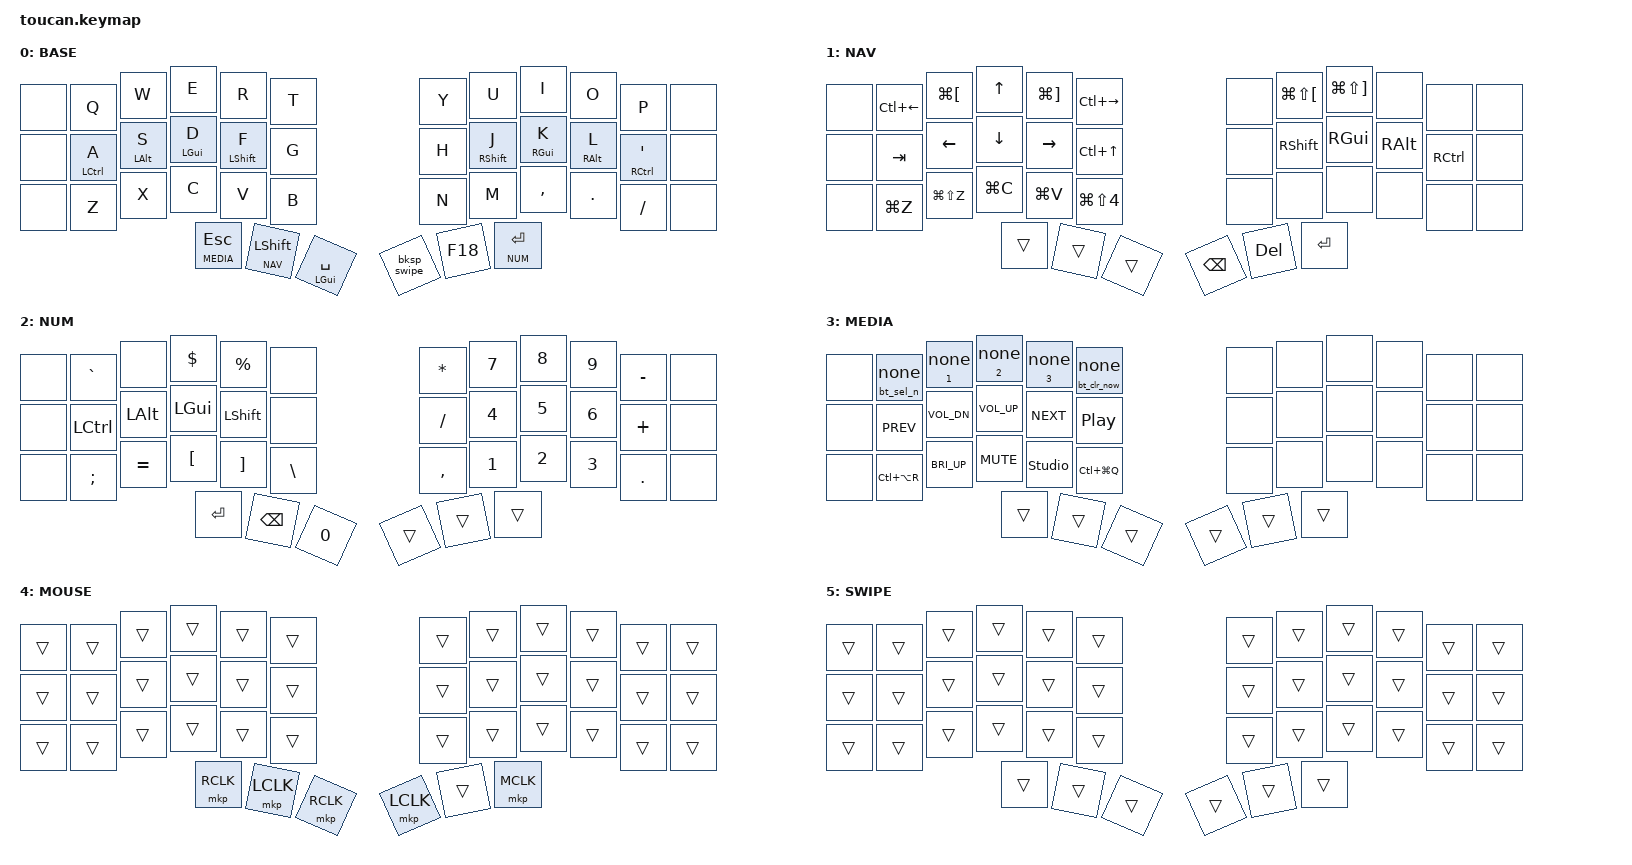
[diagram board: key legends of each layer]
#include <behaviors.dtsi>
#include <dt-bindings/zmk/keys.h>
#include <dt-bindings/zmk/bt.h>
#include <dt-bindings/zmk/outputs.h>
#include <dt-bindings/zmk/pointing.h>
#include <dt-bindings/input/input-event-codes.h>

#define BASE  0
#define NAV   1
#define NUM   2
#define MEDIA 3
#define MOUSE 4   // boards/shields/toucan/toucan.dtsi turns it on with &mo 4 while a finger is on the trackpad
#define SWIPE 5   // on while Bksp is held: no keys of its own, only two-finger swipes as gestures (toucan.dtsi)

// key positions: left hand, right hand, thumbs
#define KEYS_L 0 1 2 3 4 5 12 13 14 15 16 17 24 25 26 27 28 29
#define KEYS_R 6 7 8 9 10 11 18 19 20 21 22 23 30 31 32 33 34 35
#define THUMBS 36 37 38 39 40 41

&lt {
    tapping-term-ms = <200>;
    quick-tap-ms = <175>;
};

/ {
    behaviors {
        hml: home_row_mod_left {
            compatible = "zmk,behavior-hold-tap";
            display-name = "Home Row Mod Left";
            #binding-cells = <2>;
            flavor = "balanced";
            tapping-term-ms = <280>;
            quick-tap-ms = <175>;
            require-prior-idle-ms = <150>;
            bindings = <&kp>, <&kp>;
            hold-trigger-key-positions = <KEYS_R THUMBS>;
            hold-trigger-on-release;
        };
        hmr: home_row_mod_right {
            compatible = "zmk,behavior-hold-tap";
            display-name = "Home Row Mod Right";
            #binding-cells = <2>;
            flavor = "balanced";
            tapping-term-ms = <280>;
            quick-tap-ms = <175>;
            require-prior-idle-ms = <150>;
            bindings = <&kp>, <&kp>;
            hold-trigger-key-positions = <KEYS_L THUMBS>;
            hold-trigger-on-release;
        };
        // middle left thumb: hold = NAV, tap = one-shot Shift (the next letter is a capital); a letter pressed with it
        // and both released inside the 200 ms is a capital too
        nav_shift: nav_or_sticky_shift {
            compatible = "zmk,behavior-hold-tap";
            display-name = "NAV / Shift";
            #binding-cells = <2>;
            flavor = "tap-preferred";
            tapping-term-ms = <200>;
            bindings = <&hud_nav>, <&sk>;
        };
        // Esc and Enter: &lt exactly (tap-preferred, 200 ms, quick-tap 175 from &lt above), but the hold also holds the
        // layer's HUD key (hud_media, hud_num) so the Mac's layer HUD (~/key-layers) shows the layer
        lt_media: layer_tap_media {
            compatible = "zmk,behavior-hold-tap";
            display-name = "Layer-Tap MEDIA";
            #binding-cells = <2>;
            flavor = "tap-preferred";
            tapping-term-ms = <200>;
            quick-tap-ms = <175>;
            bindings = <&hud_media>, <&kp>;
        };
        lt_num: layer_tap_num {
            compatible = "zmk,behavior-hold-tap";
            display-name = "Layer-Tap NUM";
            #binding-cells = <2>;
            flavor = "tap-preferred";
            tapping-term-ms = <200>;
            quick-tap-ms = <175>;
            bindings = <&hud_num>, <&kp>;
        };
        // inner left thumb: tap = Space, hold = Cmd after 200 ms (tap-preferred, as Space/NAV was, so fast typing never
        // fires Cmd); tap then hold repeats Space
        cmd_space: cmd_or_space {
            compatible = "zmk,behavior-hold-tap";
            display-name = "Cmd / Space";
            #binding-cells = <2>;
            flavor = "tap-preferred";
            tapping-term-ms = <200>;
            quick-tap-ms = <175>;
            bindings = <&kp>, <&kp>;
        };
        // MEDIA's Bluetooth keys fire only when held a full second, so Esc held a moment too long and a word with a t
        // in it never wipes the pairing (Q W E R pick a device, T clears it); a quick tap does nothing
        bt_sel_hold: bt_select_on_hold {
            compatible = "zmk,behavior-hold-tap";
            display-name = "BT Select (hold 1 s)";
            #binding-cells = <2>;
            flavor = "tap-preferred";
            tapping-term-ms = <1000>;
            bindings = <&bt_sel_n>, <&none>;
        };
        bt_clr_hold: bt_clear_on_hold {
            compatible = "zmk,behavior-hold-tap";
            display-name = "BT Clear (hold 1 s)";
            #binding-cells = <2>;
            flavor = "tap-preferred";
            tapping-term-ms = <1000>;
            bindings = <&bt_clr_now>, <&none>;
        };
    };

    macros {
        // the device number from bt_sel_hold into &bt BT_SEL
        bt_sel_n: bt_sel_n {
            compatible = "zmk,behavior-macro-one-param";
            #binding-cells = <1>;
            bindings = <&macro_param_1to2>, <&bt BT_SEL MACRO_PLACEHOLDER>;
        };
        // a layer held from a thumb also holds a spare key for as long as the layer is on (NAV F13, NUM F16, MEDIA F17):
        // the Mac's layer HUD (~/key-layers/layer-hud.lua in Hammerspoon) hears it and shows that layer's keys; the
        // HUD swallows the key, so no app sees it
        hud_nav: hud_nav {
            compatible = "zmk,behavior-macro";
            #binding-cells = <0>;
            wait-ms = <0>;
            tap-ms = <0>;
            bindings
                = <&macro_press &mo NAV &kp F13>
                , <&macro_pause_for_release>
                , <&macro_release &kp F13 &mo NAV>
                ;
        };
        hud_num: hud_num {
            compatible = "zmk,behavior-macro";
            #binding-cells = <0>;
            wait-ms = <0>;
            tap-ms = <0>;
            bindings
                = <&macro_press &mo NUM &kp F16>
                , <&macro_pause_for_release>
                , <&macro_release &kp F16 &mo NUM>
                ;
        };
        hud_media: hud_media {
            compatible = "zmk,behavior-macro";
            #binding-cells = <0>;
            wait-ms = <0>;
            tap-ms = <0>;
            bindings
                = <&macro_press &mo MEDIA &kp F17>
                , <&macro_pause_for_release>
                , <&macro_release &kp F17 &mo MEDIA>
                ;
        };
        bt_clr_now: bt_clr_now {
            compatible = "zmk,behavior-macro";
            #binding-cells = <0>;
            bindings = <&bt BT_CLR>;
        };
        // inner right thumb: Bksp, held down it repeats as before, and while held two-finger swipes are the Mac
        // gestures (SWIPE on with it)
        bksp_swipe: bksp_swipe {
            compatible = "zmk,behavior-macro";
            display-name = "Bksp / Swipe";
            #binding-cells = <0>;
            wait-ms = <0>;
            tap-ms = <0>;
            bindings
                = <&macro_press &mo SWIPE &kp BSPC>
                , <&macro_pause_for_release>
                , <&macro_release &kp BSPC &mo SWIPE>
                ;
        };
        // a finger landing on the trackpad while Bksp is held lets Bksp go, so the swipe does not delete text
        bksp_up: bksp_up {
            compatible = "zmk,behavior-macro";
            #binding-cells = <0>;
            wait-ms = <0>;
            tap-ms = <0>;
            bindings = <&macro_release &kp BSPC>;
        };
    };

    bksp_off_processor: bksp_off_processor {
        compatible = "zmk,input-processor-behaviors";
        #input-processor-cells = <0>;
        codes = <INPUT_BTN_TOUCH>;
        bindings = <&bksp_up>;
    };

    keymap {
        compatible = "zmk,keymap";

        // Each layer's keys sit on the same hand as the thumb that holds it, so one hand does it alone
        // (NAV on the left, the right hand stays on the trackpad); the other hand's home row holds the modifiers.
        // Thumbs: Esc/MEDIA  Shift/NAV (tap = one-shot Shift)  Space/Cmd | Bksp (repeats when held; held, two-finger swipes
        // are the gestures)  F18 (VoiceInk, hold to talk)  Enter/NUM
        // (Space and Bksp on the two innermost thumbs, out of the way of the letters)
        base {
            display-name = "BASE";
            bindings = <
&none &kp Q          &kp W          &kp E          &kp R           &kp T      &kp Y &kp U           &kp I          &kp O          &kp P            &none
&none &hml LCTRL A   &hml LALT S    &hml LGUI D    &hml LSHFT F    &kp G      &kp H &hmr RSHFT J    &hmr RGUI K    &hmr RALT L    &hmr RCTRL SQT   &none
&none &kp Z          &kp X          &kp C          &kp V           &kp B      &kp N &kp M           &kp COMMA      &kp DOT        &kp FSLH         &none
                     &lt_media MEDIA ESC  &nav_shift NAV LSHFT  &cmd_space LGUI SPACE   &bksp_swipe    &kp F18         &lt_num NUM RET
            >;
        };

        // hold the middle left thumb: left hand navigates. E S D F arrows, A Tab, Z undo, X redo, C copy, V paste;
        // W/R Back/Fwd = Cmd+[ ], Q/T Space<-/-> = Ctrl+arrows, G Mission Control = Ctrl+Up, B screenshot = Cmd+Shift+4;
        // right hand U/I: tab left / tab right (Cmd+Shift+[ ], Chrome and most Mac apps); right thumbs Bksp, Del (on F18), Enter
        nav {
            display-name = "NAV";
            bindings = <
&none &kp LC(LEFT)  &kp LG(LBKT)   &kp UP     &kp LG(RBKT)  &kp LC(RIGHT)     &none  &kp LG(LS(LBKT))  &kp LG(LS(RBKT))  &none  &none  &none
&none &kp TAB       &kp LEFT       &kp DOWN   &kp RIGHT     &kp LC(UP)        &none  &kp RSHFT  &kp RGUI  &kp RALT  &kp RCTRL  &none
&none &kp LG(Z)     &kp LG(LS(Z))  &kp LG(C)  &kp LG(V)     &kp LG(LS(N4))    &none  &none      &none     &none     &none      &none
                                   &trans     &trans        &trans            &kp BSPC     &kp DEL      &kp RET
            >;
        };

        // hold Enter: numpad on the right hand, $ and % on the left; 0, Bksp and Enter on the left thumbs;
        // left bottom row ; = [ ] \ and Q ` (the symbols no other layer has); hold F (Shift) for : + { } | ~, and Shift+digit for ! @ # ^ & ( )
        num {
            display-name = "NUM";
            bindings = <
&none &kp GRAVE  &none     &kp DLLR  &kp PRCNT  &none      &kp ASTRK  &kp N7  &kp N8  &kp N9  &kp MINUS  &none
&none &kp LCTRL  &kp LALT  &kp LGUI  &kp LSHFT  &none      &kp FSLH   &kp N4  &kp N5  &kp N6  &kp PLUS   &none
&none &kp SEMI   &kp EQUAL &kp LBKT  &kp RBKT   &kp BSLH   &kp COMMA  &kp N1  &kp N2  &kp N3  &kp DOT    &none
                           &kp RET   &kp BSPC   &kp N0     &trans     &trans  &trans
            >;
        };

        // hold Esc (left outer thumb): Bluetooth devices (each held a second, bt_sel_hold), media, brightness on the left
        // hand, mirrored back from the right so each finger does what it did; bottom row: Z flips the SOTSU monitor
        // (Ctrl+Opt+R, caught by Hammerspoon on the Mac), V unlocks ZMK Studio, B locks the screen (Ctrl+Cmd+Q)
        media {
            display-name = "MEDIA";
            bindings = <
&none  &bt_sel_hold 0 0  &bt_sel_hold 1 0  &bt_sel_hold 2 0  &bt_sel_hold 3 0  &bt_clr_hold 0 0  &none  &none  &none  &none  &none  &none
&none  &kp C_PREV     &kp C_VOL_DN    &kp C_VOL_UP    &kp C_NEXT      &kp C_PP           &none  &none  &none  &none  &none  &none
&none  &kp LC(LA(R))  &kp C_BRI_UP    &kp C_MUTE      &studio_unlock  &kp LC(LG(Q))      &none  &none  &none  &none  &none  &none
                                      &trans          &trans          &trans             &trans &trans &trans
            >;
        };

        // on while a finger is on the trackpad: thumbs click; the VoiceInk key (F18) keeps working
        mouse {
            display-name = "MOUSE";
            bindings = <
&trans &trans &trans &trans &trans &trans    &trans &trans &trans &trans &trans &trans
&trans &trans &trans &trans &trans &trans    &trans &trans &trans &trans &trans &trans
&trans &trans &trans &trans &trans &trans    &trans &trans &trans &trans &trans &trans
                     &mkp RCLK &mkp LCLK &mkp RCLK    &mkp LCLK &trans &mkp MCLK
            >;
        };

        // on while Bksp is held (bksp_swipe): every key as on the layer below; it only makes two-finger swipes gestures
        swipe {
            display-name = "SWIPE";
            bindings = <
&trans &trans &trans &trans &trans &trans    &trans &trans &trans &trans &trans &trans
&trans &trans &trans &trans &trans &trans    &trans &trans &trans &trans &trans &trans
&trans &trans &trans &trans &trans &trans    &trans &trans &trans &trans &trans &trans
                     &trans &trans &trans    &trans &trans &trans
            >;
        };

        extra_1 {
            status = "reserved";
        };

        extra_2 {
            status = "reserved";
        };
    };
};

// Bksp held and a finger lands on the trackpad: Bksp lets go (bksp_up). After the dtsi's gestures and scroller overrides;
// process-next, so the touch still reaches the base list's &mo MOUSE.
&trackpad_listener {
    bksp_off {
        layers = <SWIPE>;
        input-processors = <&bksp_off_processor>;
        process-next;
    };
};
